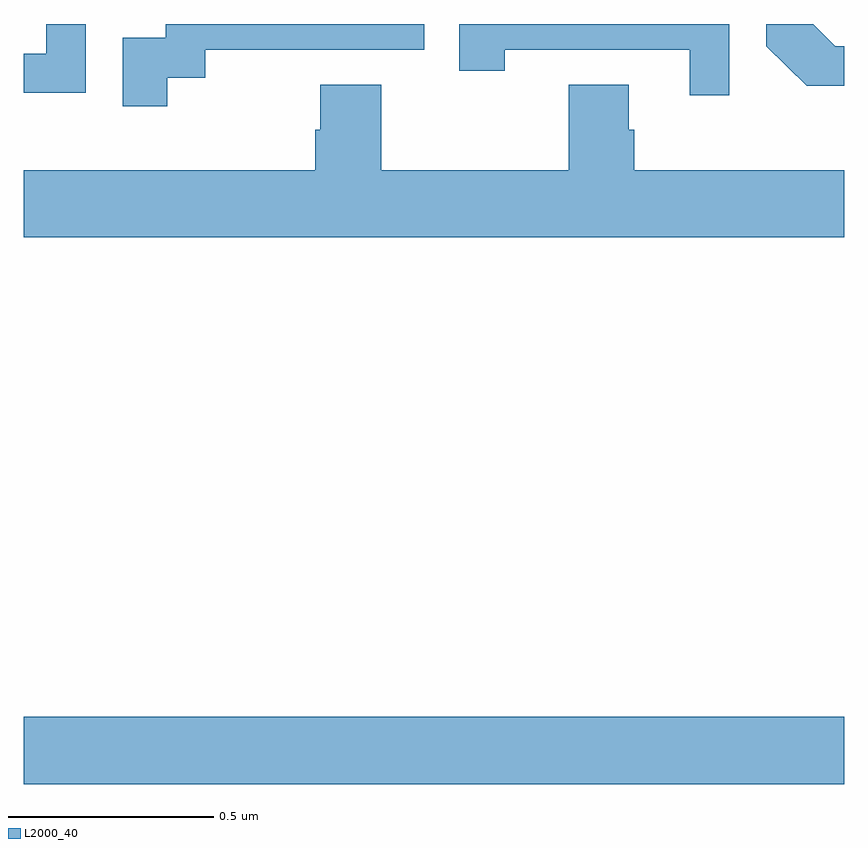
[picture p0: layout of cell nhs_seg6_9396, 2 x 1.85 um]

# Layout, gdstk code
import gdstk
lib = gdstk.Library(unit=1e-6, precision=1e-09)
def R(c, l, rs):  # rectangles x0, y0, x1, y1
    for r in rs: c.add(gdstk.rectangle(r[:2], r[2:], *l))
def P(c, l, *ps):  # polygons
    for p in ps: c.add(gdstk.Polygon(p, *l))
L2000_40 = (2000, 40)

nhs_seg6_9396 = lib.new_cell('nhs_seg6_9396')
R(nhs_seg6_9396, L2000_40, [(233,968.648,235,968.812)])
P(nhs_seg6_9396, L2000_40, [(233.35,970.369),(233.442,970.369),(233.442,970.437),(233.976,970.437),(233.976,970.5),(233.346,970.5),(233.346,970.467),(233.241,970.467),(233.241,970.299),(233.35,970.299)],
  [(235,970.446),(234.978,970.446),(234.924,970.5),(234.81,970.5),(234.81,970.446),(234.908,970.349),(235,970.349)],
  [(233.151,970.5),(233.055,970.5),(233.055,970.428),(233,970.428),(233,970.332),(233.151,970.332)],
  [(234.72,970.5),(234.061,970.5),(234.061,970.386),(234.172,970.386),(234.172,970.437),(234.623,970.437),(234.623,970.326),(234.72,970.326)],
  [(235,970.144),(234.488,970.144),(234.488,970.242),(234.475,970.242),(234.475,970.352),(234.328,970.352),(234.328,970.144),(233.871,970.144),(233.871,970.352),(233.723,970.352),(233.723,970.242),(233.711,970.242),(233.711,970.144),(233,970.144),(233,969.98),(235,969.98)])

lib.write_gds('nhs_seg6_9396.gds')
